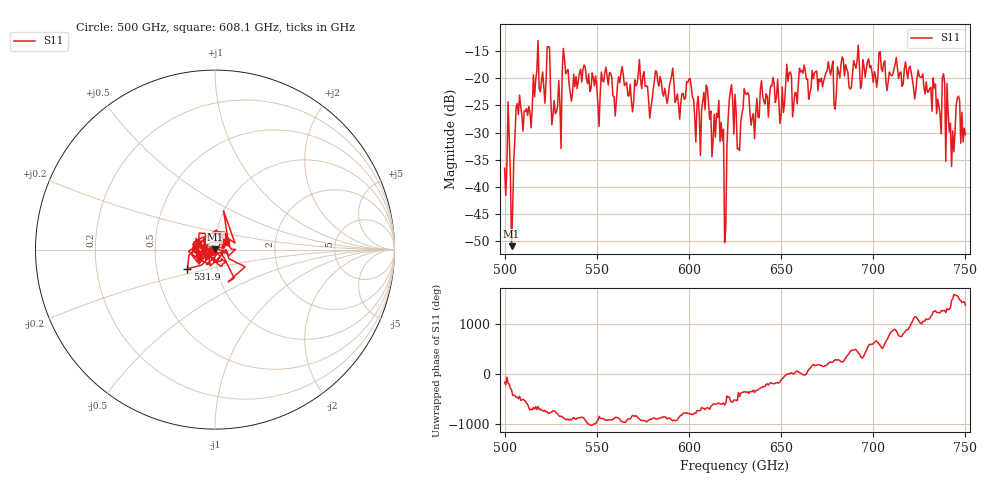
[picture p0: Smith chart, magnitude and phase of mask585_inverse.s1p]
!Created with skrf (http://scikit-rf.org).
# GHz S MA R 50.0
!freq magS11 angS11
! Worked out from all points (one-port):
!   401 points, 500 GHz to 750 GHz, reference 50 ohm
!   lowest |S11| = -50.9 dB at 503.8 GHz (marker M1), VSWR 1.01, Z = 50.2 + j0.214 ohm
!   |S11| at or under -10 dB: start of sweep to end of sweep
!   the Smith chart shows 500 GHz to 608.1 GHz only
!   S11 on the Smith chart (normalised r, x): 500 GHz: 0.97, -0.01; 531.9 GHz: 0.72, -0.16; 608.1 GHz: 1.13, +0.10
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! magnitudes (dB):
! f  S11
! 500 GHz  -36.6
! 501.9 GHz  -24.4
! 503.8 GHz  -50.9
! 507.5 GHz  -26.7
! 513.8 GHz  -26.3
! 516.9 GHz  -20.4
! 523.8 GHz  -14.2
! 526.9 GHz  -24.1
! 531.2 GHz  -18.8
! 531.9 GHz  -14.6
! 562.5 GHz  -20.9
! 579.4 GHz  -25.4
! 590.6 GHz  -19.5
! 593.8 GHz  -22.9
! 600 GHz  -20.2
! 605 GHz  -23.4
! 608.1 GHz  -22.6
! 617.5 GHz  -28.1
! 619.4 GHz  -50.2
! 622.5 GHz  -22.4
! 625 GHz  -23.0
! 656.2 GHz  -27.1
! 687.5 GHz  -22.0
! 718.8 GHz  -20.1
! 738.8 GHz  -20.9
! 742.5 GHz  -36.3
! 745.6 GHz  -23.7
! 750 GHz  -30.4
